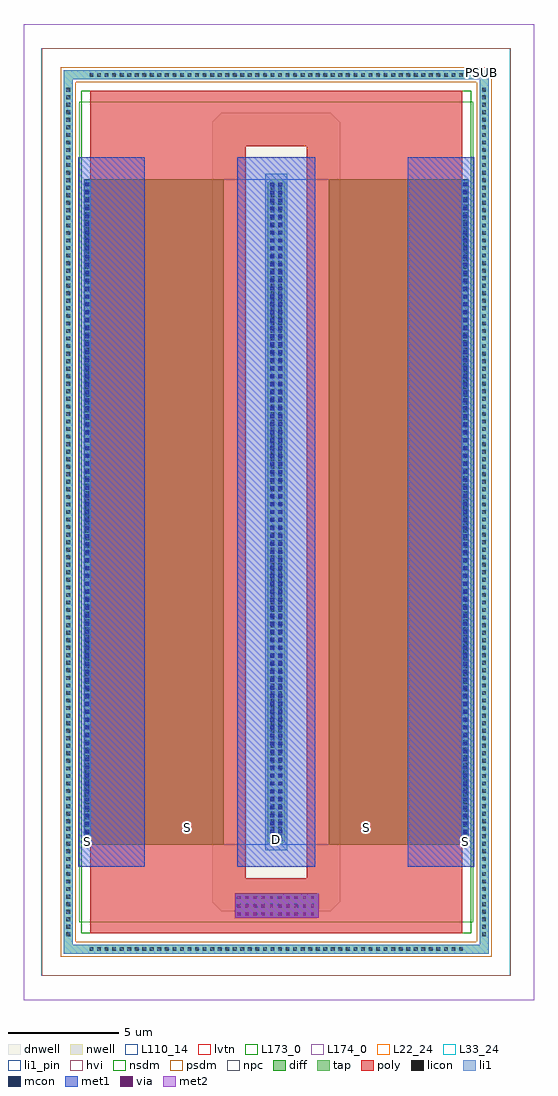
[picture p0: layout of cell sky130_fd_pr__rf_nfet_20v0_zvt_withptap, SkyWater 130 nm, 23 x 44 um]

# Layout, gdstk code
import gdstk
lib = gdstk.Library(unit=1e-6, precision=1e-09)
def R(c, l, rs):  # rectangles x0, y0, x1, y1
    for r in rs: c.add(gdstk.rectangle(r[:2], r[2:], *l))
def A(c, l, x, y, w, h, nx, ny, dx, dy):  # array of equal rectangles
    R(c, l, [(x+i*dx, y+j*dy, x+i*dx+w, y+j*dy+h) for i in range(nx) for j in range(ny)])
def P(c, l, *ps):  # polygons
    for p in ps: c.add(gdstk.Polygon(p, *l))
L22_24 = (22, 24)
L33_24 = (33, 24)
dnwell = (64, 18)
nwell = (64, 20)
diff = (65, 20)
tap = (65, 44)
poly = (66, 20)
licon = (66, 44)
li1_pin = (67, 16)
li1 = (67, 20)
mcon = (67, 44)
met1 = (68, 20)
via = (68, 44)
met2 = (69, 20)
hvi = (75, 20)
nsdm = (93, 44)
psdm = (94, 20)
npc = (95, 20)
L110_14 = (110, 14)
lvtn = (125, 44)
L173_0 = (173, 0)
L174_0 = (174, 0)

sky130_fd_pr__rf_nfet_20 = lib.new_cell('sky130_fd_pr__rf_nfet_20v0_zvt_withptap')
R(sky130_fd_pr__rf_nfet_20, L22_24, [(-10.22,-5.91,10.93,35.91)])
R(sky130_fd_pr__rf_nfet_20, L33_24, [(-10.22,-5.91,10.93,35.91)])
P(sky130_fd_pr__rf_nfet_20, dnwell, [(3.25,32.57),(2.82,33),(-2.07,33),(-2.5,32.57),(-2.5,-2.57),(-2.07,-3),(2.82,-3),(3.25,-2.57)])
R(sky130_fd_pr__rf_nfet_20, nwell, [(-0.05,0,0.8,30)])
R(sky130_fd_pr__rf_nfet_20, diff, [(-8.29,0,-8,30), (-8.29,0,-2,30), (2.75,0,9.04,30), (8.75,0,9.04,30), (-8.29,0.065,-8,29.935), (8.75,0.065,9.04,29.935)])
R(sky130_fd_pr__rf_nfet_20, tap, [(-9.2,-4.91,-8.79,34.91), (-8.16,-4.91,8.91,-4.5), (-9.2,-4.245,-8.79,34.245), (9.54,-4.245,9.95,34.245), (0,0.175,0.75,29.825), (-8.16,34.5,8.91,34.91)])
P(sky130_fd_pr__rf_nfet_20, tap, [(0.15,0),(0.6,0),(0.75,0.15),(0.75,29.85),(0.6,30),(0.15,30),(0,29.85),(0,0.15)],
  [(9.95,34.91),(9.54,34.91),(9.54,-4.5),(-8.79,-4.5),(-8.79,34.5),(9.54,34.5),(9.54,34.91),(-9.2,34.91),(-9.2,-4.91),(9.95,-4.91)])
R(sky130_fd_pr__rf_nfet_20, poly, [(-1.48,-3.285,-1.15,-2.955), (-1.48,-3.285,-1.15,-2.955), (-1.11,-3.285,-0.78,-2.955), (-1.11,-3.285,-0.78,-2.955), (-0.74,-3.285,-0.41,-2.955), (-0.74,-3.285,-0.41,-2.955), (-0.37,-3.285,-0.04,-2.955), (-0.37,-3.285,-0.04,-2.955), (0,-3.285,0.33,-2.955), (0,-3.285,0.33,-2.955), (0.37,-3.285,0.7,-2.955), (0.37,-3.285,0.7,-2.955), (0.74,-3.285,1.07,-2.955), (0.74,-3.285,1.07,-2.955), (1.11,-3.285,1.44,-2.955), (1.11,-3.285,1.44,-2.955), (1.48,-3.285,1.81,-2.955), (1.48,-3.285,1.81,-2.955), (1.85,-3.285,2.18,-2.955), (1.85,-3.285,2.18,-2.955), (-1.48,-2.915,-1.15,-2.585), (-1.48,-2.915,-1.15,-2.585), (-1.11,-2.915,-0.78,-2.585), (-1.11,-2.915,-0.78,-2.585), (-0.74,-2.915,-0.41,-2.585), (-0.74,-2.915,-0.41,-2.585), (-0.37,-2.915,-0.04,-2.585), (-0.37,-2.915,-0.04,-2.585), (0,-2.915,0.33,-2.585), (0,-2.915,0.33,-2.585), (0.37,-2.915,0.7,-2.585), (0.37,-2.915,0.7,-2.585), (0.74,-2.915,1.07,-2.585), (0.74,-2.915,1.07,-2.585), (1.11,-2.915,1.44,-2.585), (1.11,-2.915,1.44,-2.585), (1.48,-2.915,1.81,-2.585), (1.48,-2.915,1.81,-2.585), (1.85,-2.915,2.18,-2.585), (1.85,-2.915,2.18,-2.585), (-1.48,-2.545,-1.15,-2.215), (-1.48,-2.545,-1.15,-2.215), (-1.11,-2.545,-0.78,-2.215), (-1.11,-2.545,-0.78,-2.215), (-0.74,-2.545,-0.41,-2.215), (-0.74,-2.545,-0.41,-2.215), (-0.37,-2.545,-0.04,-2.215), (-0.37,-2.545,-0.04,-2.215), (0,-2.545,0.33,-2.215), (0,-2.545,0.33,-2.215), (0.37,-2.545,0.7,-2.215), (0.37,-2.545,0.7,-2.215), (0.74,-2.545,1.07,-2.215), (0.74,-2.545,1.07,-2.215), (1.11,-2.545,1.44,-2.215), (1.11,-2.545,1.44,-2.215), (1.48,-2.545,1.81,-2.215), (1.48,-2.545,1.81,-2.215), (1.85,-2.545,2.18,-2.215), (1.85,-2.545,2.18,-2.215)])
P(sky130_fd_pr__rf_nfet_20, poly, [(8.75,34),(1.75,34),(1.75,-1.5),(-1,-1.5),(-1,31.5),(1.75,31.5),(1.75,34),(-8,34),(-8,-4),(8.75,-4)])
A(sky130_fd_pr__rf_nfet_20, licon, -8.04, -4.79, 0.17, 0.17, 50, 2, 0.34, 39.41)
A(sky130_fd_pr__rf_nfet_20, licon, -9.08, -4.125, 0.17, 0.17, 1, 113, 0, 0.34)
A(sky130_fd_pr__rf_nfet_20, licon, 9.66, -4.125, 0.17, 0.17, 1, 113, 0, 0.34)
A(sky130_fd_pr__rf_nfet_20, licon, -1.4, -3.205, 0.17, 0.17, 10, 3, 0.37, 0.37)
A(sky130_fd_pr__rf_nfet_20, licon, -8.23, 0.125, 0.17, 0.17, 1, 88, 0, 0.34)
A(sky130_fd_pr__rf_nfet_20, licon, 8.81, 0.125, 0.17, 0.17, 1, 88, 0, 0.34)
A(sky130_fd_pr__rf_nfet_20, licon, 0.12, 0.295, 0.17, 0.17, 1, 87, 0, 0.34)
A(sky130_fd_pr__rf_nfet_20, licon, 0.46, 0.295, 0.17, 0.17, 1, 87, 0, 0.34)
R(sky130_fd_pr__rf_nfet_20, li1_pin, [(-8.31,0.095,-7.98,0.115), (8.73,0.1,9.06,0.12), (0.04,0.215,0.71,0.235), (9.175,34.6,9.95,34.91)])
A(sky130_fd_pr__rf_nfet_20, li1, -1.48, -3.285, 0.33, 0.33, 10, 3, 0.37, 0.37)
A(sky130_fd_pr__rf_nfet_20, li1, -1.4, -3.205, 0.17, 0.17, 10, 3, 0.37, 0.37)
R(sky130_fd_pr__rf_nfet_20, li1, [(-8.12,-4.87,8.87,-4.54), (-9.16,-4.205,-8.83,34.205), (9.58,-4.205,9.91,34.205), (-1.48,-3.285,2.3,-2.215), (-0.125,-0.25,0.875,30.25), (-8.31,0.045,-7.98,29.955), (8.73,0.045,9.06,29.955), (0.11,0.155,0.64,29.845), (0.04,0.215,0.71,29.785), (-8.12,34.54,8.87,34.87)])
P(sky130_fd_pr__rf_nfet_20, li1, [(9.95,34.91),(9.54,34.91),(9.54,-4.5),(-8.79,-4.5),(-8.79,34.5),(9.54,34.5),(9.54,34.91),(-9.2,34.91),(-9.2,-4.91),(9.95,-4.91)])
A(sky130_fd_pr__rf_nfet_20, mcon, -1.4, -3.205, 0.17, 0.17, 10, 3, 0.37, 0.37)
A(sky130_fd_pr__rf_nfet_20, mcon, -8.23, 0.155, 0.17, 0.17, 1, 83, 0, 0.36)
A(sky130_fd_pr__rf_nfet_20, mcon, 0.11, 0.155, 0.17, 0.17, 1, 83, 0, 0.36)
A(sky130_fd_pr__rf_nfet_20, mcon, 0.47, 0.155, 0.17, 0.17, 1, 83, 0, 0.36)
A(sky130_fd_pr__rf_nfet_20, mcon, 8.81, 0.155, 0.17, 0.17, 1, 83, 0, 0.36)
A(sky130_fd_pr__rf_nfet_20, met1, -1.475, -3.28, 0.32, 0.32, 10, 3, 0.37, 0.37)
A(sky130_fd_pr__rf_nfet_20, met1, -1.46, -3.265, 0.29, 0.29, 10, 3, 0.37, 0.37)
R(sky130_fd_pr__rf_nfet_20, met1, [(-1.48,-3.285,2.3,-2.215), (-8.56,-1,-5.56,31), (-1.375,-1,2.125,31), (6.31,-1,9.31,31), (-8.29,0.095,-8,29.905), (0.05,0.095,0.7,29.905), (8.75,0.095,9.04,29.905)])
A(sky130_fd_pr__rf_nfet_20, via, -1.39, -3.195, 0.15, 0.15, 10, 3, 0.37, 0.37)
R(sky130_fd_pr__rf_nfet_20, met2, [(-1.48,-3.285,2.3,-2.215), (-1.475,-3.28,-1.155,-2.96), (-1.475,-3.28,-1.155,-2.96), (-1.105,-3.28,-0.785,-2.96), (-1.105,-3.28,-0.785,-2.96), (-0.735,-3.28,-0.415,-2.96), (-0.735,-3.28,-0.415,-2.96), (-0.365,-3.28,-0.045,-2.96), (-0.365,-3.28,-0.045,-2.96), (0.005,-3.28,0.325,-2.96), (0.005,-3.28,0.325,-2.96), (0.375,-3.28,0.695,-2.96), (0.375,-3.28,0.695,-2.96), (0.745,-3.28,1.065,-2.96), (0.745,-3.28,1.065,-2.96), (1.115,-3.28,1.435,-2.96), (1.115,-3.28,1.435,-2.96), (1.485,-3.28,1.805,-2.96), (1.485,-3.28,1.805,-2.96), (1.855,-3.28,2.175,-2.96), (1.855,-3.28,2.175,-2.96), (-1.475,-2.91,-1.155,-2.59), (-1.475,-2.91,-1.155,-2.59), (-1.105,-2.91,-0.785,-2.59), (-1.105,-2.91,-0.785,-2.59), (-0.735,-2.91,-0.415,-2.59), (-0.735,-2.91,-0.415,-2.59), (-0.365,-2.91,-0.045,-2.59), (-0.365,-2.91,-0.045,-2.59), (0.005,-2.91,0.325,-2.59), (0.005,-2.91,0.325,-2.59), (0.375,-2.91,0.695,-2.59), (0.375,-2.91,0.695,-2.59), (0.745,-2.91,1.065,-2.59), (0.745,-2.91,1.065,-2.59), (1.115,-2.91,1.435,-2.59), (1.115,-2.91,1.435,-2.59), (1.485,-2.91,1.805,-2.59), (1.485,-2.91,1.805,-2.59), (1.855,-2.91,2.175,-2.59), (1.855,-2.91,2.175,-2.59), (-1.475,-2.54,-1.155,-2.22), (-1.475,-2.54,-1.155,-2.22), (-1.105,-2.54,-0.785,-2.22), (-1.105,-2.54,-0.785,-2.22), (-0.735,-2.54,-0.415,-2.22), (-0.735,-2.54,-0.415,-2.22), (-0.365,-2.54,-0.045,-2.22), (-0.365,-2.54,-0.045,-2.22), (0.005,-2.54,0.325,-2.22), (0.005,-2.54,0.325,-2.22), (0.375,-2.54,0.695,-2.22), (0.375,-2.54,0.695,-2.22), (0.745,-2.54,1.065,-2.22), (0.745,-2.54,1.065,-2.22), (1.115,-2.54,1.435,-2.22), (1.115,-2.54,1.435,-2.22), (1.485,-2.54,1.805,-2.22), (1.485,-2.54,1.805,-2.22), (1.855,-2.54,2.175,-2.22), (1.855,-2.54,2.175,-2.22)])
R(sky130_fd_pr__rf_nfet_20, hvi, [(-10.2,-5.91,10.95,35.91)])
R(sky130_fd_pr__rf_nfet_20, nsdm, [(-8.42,-4,9.17,34)])
R(sky130_fd_pr__rf_nfet_20, psdm, [(-9.33,-5.04,10.08,-4.37), (-9.33,-5.04,-8.66,35.04), (9.41,-5.04,10.08,35.04), (-9.33,-4.375,-8.66,34.375), (9.41,-4.375,10.08,34.375), (-9.33,34.37,10.08,35.04)])
A(sky130_fd_pr__rf_nfet_20, npc, -1.5, -3.305, 0.37, 0.37, 10, 3, 0.37, 0.37)
R(sky130_fd_pr__rf_nfet_20, L110_14, [(-8.29,0,9.04,30)])
R(sky130_fd_pr__rf_nfet_20, lvtn, [(-8.5,-3.5,9.25,33.5)])
R(sky130_fd_pr__rf_nfet_20, L173_0, [(-8.5,-3.5,9.25,33.5)])
R(sky130_fd_pr__rf_nfet_20, L174_0, [(-11,-7,12,37)])
sky130_fd_pr__rf_nfet_20.add(gdstk.Label('PSUB', (9.625,34.82), layer=67, texttype=5))
sky130_fd_pr__rf_nfet_20.add(gdstk.Label('S', (8.895,0.14), layer=67, texttype=5))
sky130_fd_pr__rf_nfet_20.add(gdstk.Label('S', (-8.15,0.155), layer=67, texttype=5))
sky130_fd_pr__rf_nfet_20.add(gdstk.Label('D', (0.375,0.225), layer=67, texttype=5))
sky130_fd_pr__rf_nfet_20.add(gdstk.Label('S', (4.425,0.795), layer=83, texttype=44))
sky130_fd_pr__rf_nfet_20.add(gdstk.Label('S', (-3.625,0.795), layer=83, texttype=44))
sky130_fd_pr__rf_nfet_20.add(gdstk.Label('D', (0.335,0.795), layer=83, texttype=44))

lib.write_gds('sky130_fd_pr__rf_nfet_20v0_zvt_withptap.gds')
